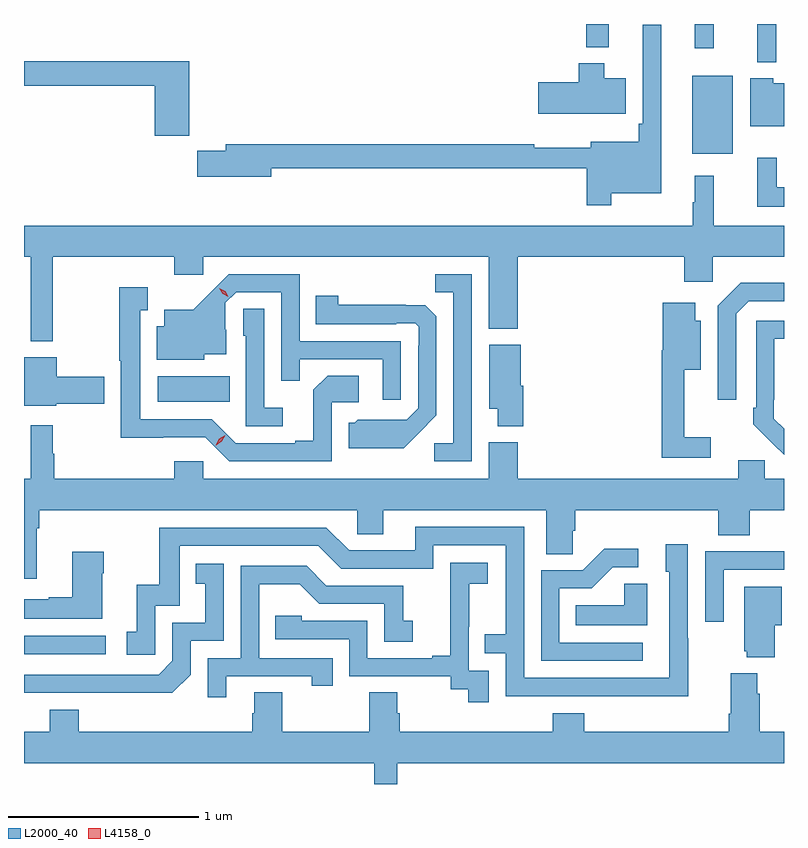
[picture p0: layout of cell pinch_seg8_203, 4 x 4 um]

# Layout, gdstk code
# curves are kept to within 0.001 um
import gdstk
lib = gdstk.Library(unit=1e-6, precision=1e-09)
def R(c, l, rs):  # rectangles x0, y0, x1, y1
    for r in rs: c.add(gdstk.rectangle(r[:2], r[2:], *l))
def P(c, l, *ps):  # polygons
    for p in ps: c.add(gdstk.Polygon(p, *l))
L2000_40 = (2000, 40)
L4158_0 = (4158, 0)

pinch_seg8_203 = lib.new_cell('pinch_seg8_203')
R(pinch_seg8_203, L2000_40, [(625.073,1149.042,625.504,1149.138), (625.776,1150.37,626.156,1150.504), (628.589,1151.675,628.804,1152.085), (628.933,1152.158,629.031,1152.358), (628.604,1152.231,628.704,1152.358), (628.033,1152.236,628.151,1152.358)])
P(pinch_seg8_203, L2000_40, [(628.165,1151.468),(628.426,1151.468),(628.426,1152.355),(628.329,1152.355),(628.329,1151.833),(628.309,1151.833),(628.309,1151.737),(628.055,1151.737),(628.055,1151.707),(627.759,1151.707),(627.759,1151.726),(626.135,1151.726),(626.135,1151.69),(625.986,1151.69),(625.986,1151.555),(626.374,1151.555),(626.374,1151.598),(628.036,1151.598),(628.036,1151.403),(628.165,1151.403)],
  [(625.943,1152.163),(625.073,1152.163),(625.073,1152.034),(625.76,1152.034),(625.76,1151.769),(625.943,1151.769)],
  [(628.24,1152.073),(628.126,1152.073),(628.126,1152.151),(627.992,1152.151),(627.992,1152.051),(627.78,1152.051),(627.78,1151.885),(628.24,1151.885)],
  [(629.073,1152.046),(629.016,1152.046),(629.016,1152.073),(628.895,1152.073),(628.895,1151.819),(629.073,1151.819)],
  [(629.073,1151.5),(629.035,1151.5),(629.035,1151.653),(628.931,1151.653),(628.931,1151.396),(629.073,1151.396)],
  [(628.698,1151.132),(629.073,1151.132),(629.073,1151.296),(628.704,1151.296),(628.704,1151.56),(628.604,1151.56),(628.604,1151.42),(628.593,1151.42),(628.593,1151.296),(625.073,1151.296),(625.073,1151.132),(625.109,1151.132),(625.109,1150.688),(625.223,1150.688),(625.223,1151.132),(625.865,1151.132),(625.865,1151.037),(626.016,1151.037),(626.016,1151.132),(627.518,1151.132),(627.518,1150.754),(627.671,1150.754),(627.671,1151.132),(628.547,1151.132),(628.547,1151.001),(628.698,1151.001)],
  [(627.057,1150.689),(626.523,1150.689),(626.523,1151.04),(626.15,1151.04),(625.963,1150.855),(625.811,1150.855),(625.811,1150.768),(625.772,1150.768),(625.772,1150.592),(626.022,1150.592),(626.022,1150.619),(626.137,1150.619),(626.137,1150.748),(626.133,1150.748),(626.133,1150.89),(626.19,1150.947),(626.427,1150.947),(626.427,1150.48),(626.525,1150.48),(626.525,1150.593),(626.961,1150.593),(626.961,1150.38),(627.057,1150.38)],
  [(627.429,1151.04),(627.238,1151.04),(627.238,1150.945),(627.333,1150.945),(627.333,1150.152),(627.231,1150.152),(627.231,1150.056),(627.429,1150.056)],
  [(628.821,1150.833),(628.887,1150.899),(629.073,1150.899),(629.073,1150.996),(628.846,1150.996),(628.725,1150.875),(628.725,1150.38),(628.821,1150.38)],
  [(626.694,1150.368),(626.836,1150.368),(626.836,1150.508),(626.671,1150.508),(626.595,1150.432),(626.595,1150.165),(626.501,1150.165),(626.501,1150.152),(626.187,1150.152),(626.061,1150.278),(625.684,1150.278),(625.684,1150.851),(625.723,1150.851),(625.723,1150.972),(625.573,1150.972),(625.573,1150.585),(625.583,1150.585),(625.583,1150.181),(626.028,1150.182),(626.154,1150.056),(626.694,1150.056)],
  [(627.151,1150.205),(627.243,1150.298),(627.243,1150.82),(627.184,1150.879),(626.727,1150.88),(626.727,1150.927),(626.608,1150.927),(626.608,1150.779),(627.032,1150.779),(627.032,1150.782),(627.132,1150.782),(627.15,1150.764),(627.15,1150.664),(627.147,1150.664),(627.147,1150.335),(627.087,1150.275),(626.83,1150.276),(626.814,1150.26),(626.783,1150.26),(626.783,1150.124),(627.071,1150.124)],
  [(628.687,1150.183),(628.547,1150.183),(628.547,1150.538),(628.636,1150.538),(628.636,1150.795),(628.606,1150.795),(628.606,1150.891),(628.436,1150.891),(628.436,1150.642),(628.429,1150.642),(628.429,1150.074),(628.687,1150.074)],
  [(626.434,1150.339),(626.337,1150.339),(626.337,1150.859),(626.226,1150.859),(626.226,1150.716),(626.241,1150.716),(626.241,1150.242),(626.434,1150.242)],
  [(629.073,1150.227),(629.019,1150.281),(629.019,1150.381),(629.022,1150.381),(629.022,1150.701),(629.073,1150.701),(629.073,1150.797),(628.926,1150.797),(628.926,1150.339),(628.911,1150.339),(628.911,1150.251),(629.073,1150.091)],
  [(627.701,1150.455),(627.688,1150.455),(627.688,1150.669),(627.521,1150.669),(627.521,1150.334),(627.566,1150.334),(627.566,1150.241),(627.701,1150.241)],
  [(625.242,1150.36),(625.495,1150.36),(625.495,1150.502),(625.246,1150.502),(625.246,1150.603),(625.073,1150.603),(625.073,1150.349),(625.242,1150.349)],
  [(625.141,1149.704),(625.154,1149.704),(625.154,1149.8),(626.826,1149.8),(626.826,1149.673),(626.965,1149.673),(626.965,1149.8),(627.821,1149.8),(627.821,1149.568),(627.96,1149.568),(627.96,1149.691),(627.974,1149.691),(627.974,1149.8),(628.727,1149.8),(628.727,1149.667),(628.892,1149.667),(628.892,1149.8),(629.073,1149.8),(629.073,1149.964),(628.971,1149.964),(628.971,1150.062),(628.832,1150.062),(628.832,1149.964),(627.671,1149.964),(627.671,1150.156),(627.518,1150.156),(627.518,1149.964),(626.016,1149.964),(626.016,1150.057),(625.865,1150.057),(625.865,1149.964),(625.231,1149.964),(625.231,1150.097),(625.223,1150.097),(625.223,1150.246),(625.109,1150.246),(625.109,1149.964),(625.073,1149.964),(625.073,1149.438),(625.141,1149.438)],
  [(628.569,1149.125),(628.566,1149.125),(628.566,1149.619),(628.451,1149.619),(628.451,1149.474),(628.47,1149.474),(628.47,1148.916),(627.705,1148.916),(627.705,1149.711),(627.131,1149.711),(627.131,1149.588),(626.784,1149.588),(626.664,1149.708),(625.785,1149.708),(625.785,1149.406),(625.667,1149.406),(625.667,1149.159),(625.614,1149.159),(625.614,1149.039),(625.764,1149.039),(625.764,1149.297),(625.893,1149.297),(625.893,1149.612),(626.622,1149.612),(626.742,1149.492),(627.228,1149.492),(627.228,1149.615),(627.609,1149.615),(627.609,1149.146),(627.499,1149.146),(627.499,1149.045),(627.609,1149.045),(627.609,1148.82),(628.569,1148.819)],
  [(628.33,1149.102),(627.891,1149.102),(627.891,1149.387),(628.06,1149.387),(628.171,1149.498),(628.306,1149.498),(628.306,1149.596),(628.127,1149.596),(628.014,1149.483),(627.795,1149.483),(627.795,1149.006),(628.33,1149.006)],
  [(628.755,1149.486),(629.073,1149.486),(629.073,1149.584),(628.975,1149.584),(628.975,1149.582),(628.659,1149.582),(628.659,1149.213),(628.755,1149.213)],
  [(625.486,1149.467),(625.494,1149.467),(625.494,1149.58),(625.328,1149.58),(625.328,1149.341),(625.202,1149.341),(625.202,1149.331),(625.073,1149.331),(625.073,1149.227),(625.486,1149.227)],
  [(627.519,1148.955),(627.414,1148.955),(627.414,1149.185),(627.416,1149.185),(627.416,1149.413),(627.514,1149.413),(627.514,1149.523),(627.316,1149.523),(627.316,1149.317),(627.317,1149.317),(627.317,1149.034),(627.221,1149.034),(627.221,1149.021),(626.88,1149.021),(626.88,1149.216),(626.535,1149.216),(626.535,1149.243),(626.395,1149.243),(626.395,1149.12),(626.784,1149.12),(626.784,1148.925),(627.318,1148.925),(627.318,1148.857),(627.411,1148.857),(627.411,1148.787),(627.519,1148.787)],
  [(625.95,1148.934),(625.95,1149.111),(626.124,1149.111),(626.124,1149.517),(625.978,1149.517),(625.978,1149.411),(626.027,1149.411),(626.027,1149.207),(625.854,1149.207),(625.854,1149.006),(625.782,1148.934),(625.073,1148.934),(625.073,1148.838),(625.852,1148.837)],
  [(626.137,1148.925),(626.588,1148.925),(626.588,1148.874),(626.699,1148.874),(626.699,1149.021),(626.31,1149.021),(626.31,1149.41),(626.524,1149.41),(626.628,1149.306),(626.97,1149.306),(626.97,1149.108),(627.118,1149.108),(627.118,1149.217),(627.069,1149.217),(627.069,1149.402),(626.665,1149.402),(626.56,1149.507),(626.214,1149.507),(626.214,1149.021),(626.04,1149.021),(626.04,1148.814),(626.137,1148.814)],
  [(628.354,1149.413),(628.233,1149.413),(628.233,1149.298),(627.976,1149.298),(627.976,1149.194),(628.354,1149.194)],
  [(629.023,1149.194),(629.062,1149.194),(629.062,1149.397),(628.865,1149.397),(628.865,1149.057),(628.877,1149.057),(628.877,1149.026),(629.023,1149.026)],
  [(627.037,1148.468),(629.073,1148.468),(629.073,1148.632),(628.946,1148.632),(628.946,1148.834),(628.933,1148.834),(628.933,1148.941),(628.793,1148.941),(628.793,1148.728),(628.781,1148.728),(628.781,1148.632),(628.022,1148.632),(628.022,1148.731),(627.857,1148.731),(627.857,1148.632),(627.05,1148.632),(627.05,1148.73),(627.037,1148.73),(627.037,1148.84),(626.89,1148.84),(626.89,1148.632),(626.433,1148.632),(626.433,1148.84),(626.285,1148.84),(626.285,1148.73),(626.273,1148.73),(626.273,1148.632),(625.361,1148.632),(625.361,1148.749),(625.208,1148.749),(625.208,1148.632),(625.073,1148.632),(625.073,1148.468),(626.916,1148.468),(626.916,1148.358),(627.037,1148.358)])
P(pinch_seg8_203, L4158_0, [(626.148,1150.922),(626.118,1150.937),(626.1,1150.966),(626.1,1150.967),(626.1,1150.967),(626.131,1150.952),(626.149,1150.922),(626.149,1150.922)],
  [(626.083,1150.141),(626.083,1150.141),(626.1,1150.174),(626.132,1150.194),(626.132,1150.194),(626.132,1150.194),(626.115,1150.161),(626.084,1150.141)])

lib.write_gds('pinch_seg8_203.gds')
